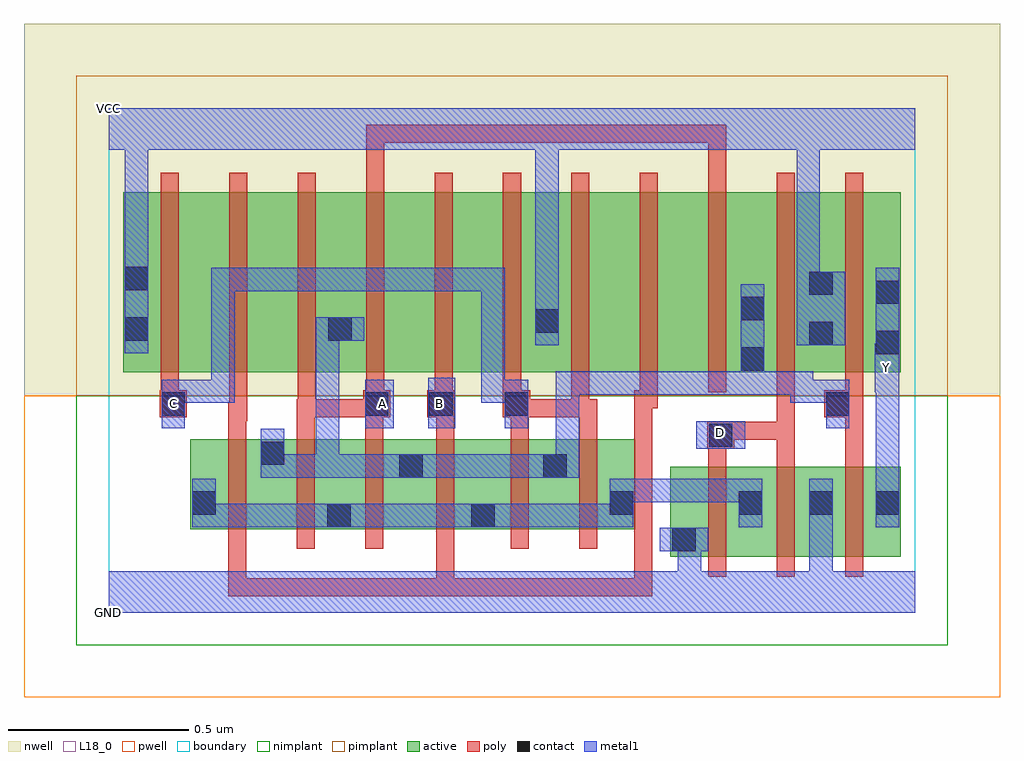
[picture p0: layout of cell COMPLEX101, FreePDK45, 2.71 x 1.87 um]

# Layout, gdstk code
import gdstk
lib = gdstk.Library(unit=1e-6, precision=1e-09)
def R(c, l, rs):  # rectangles x0, y0, x1, y1
    for r in rs: c.add(gdstk.rectangle(r[:2], r[2:], *l))
def A(c, l, x, y, w, h, nx, ny, dx, dy):  # array of equal rectangles
    R(c, l, [(x+i*dx, y+j*dy, x+i*dx+w, y+j*dy+h) for i in range(nx) for j in range(ny)])
active = (1, 0)
pwell = (2, 0)
nwell = (3, 0)
nimplant = (4, 0)
pimplant = (5, 0)
poly = (9, 0)
contact = (10, 0)
metal1 = (11, 0)
L18_0 = (18, 0)
boundary = (235, 0)

complex101 = lib.new_cell('COMPLEX101')
A(complex101, active, 0.602, 0.232, 0.275, 0.25, 3, 1, 0.2, 0)
A(complex101, active, 0.265, 0.667, 0.19, 0.5, 3, 1, 0.57, 0)
R(complex101, active, [(1.56,0.155,1.82,0.405), (1.56,0.155,1.635,0.405), (1.745,0.155,2.015,0.405), (1.94,0.155,2.2,0.405), (1.94,0.155,2.015,0.342), (1.745,0.2,1.82,0.342), (2.125,0.2,2.2,0.405), (0.227,0.232,0.302,0.482), (0.227,0.232,0.492,0.482), (0.417,0.232,0.677,0.482), (0.602,0.232,0.677,0.467), (1.002,0.232,1.077,0.405), (1.202,0.232,1.462,0.482), (1.387,0.232,1.462,0.482), (0.417,0.297,0.492,0.48), (0.802,0.297,0.877,0.445), (1.202,0.297,1.277,0.467), (0.04,0.667,0.115,1.167), (0.04,0.667,0.265,1.167), (0.455,0.667,0.68,1.167), (0.605,0.667,0.835,1.167), (0.605,0.667,0.68,1.07), (1.025,0.667,1.255,1.167), (1.18,0.667,1.255,1.167), (1.18,0.667,1.405,1.167), (1.595,0.667,1.825,1.167), (1.75,0.667,1.825,1.157), (1.75,0.667,2.015,1.167), (1.94,0.667,2.2,1.167), (1.94,0.667,2.015,1.167), (2.125,0.667,2.2,1.157)])
R(complex101, pwell, [(-0.235,-0.235,2.475,0.602)])
R(complex101, nwell, [(-0.235,0.602,2.475,1.635)])
R(complex101, nimplant, [(-0.09,-0.09,2.33,0.602)])
R(complex101, pimplant, [(-0.09,0.602,2.33,1.49)])
A(complex101, poly, 1.665, 0.1, 0.05, 0.36, 3, 1, 0.19, 0)
A(complex101, poly, 0.332, 0.177, 0.05, 0.36, 3, 1, 0.19, 0)
A(complex101, poly, 0.715, 0.567, 0.05, 0.095, 3, 1, 0.19, 0)
A(complex101, poly, 0.145, 0.612, 0.05, 0.61, 11, 1, 0.19, 0)
R(complex101, poly, [(0.332,0.045,0.382,0.227), (0.332,0.045,0.382,0.095), (0.332,0.045,0.382,0.095), (0.332,0.045,0.382,0.095), (0.332,0.045,0.517,0.095), (0.467,0.045,0.517,0.095), (0.467,0.045,0.517,0.095), (0.467,0.045,0.517,0.095), (0.467,0.045,0.707,0.095), (0.657,0.045,0.707,0.095), (0.657,0.045,0.707,0.095), (0.657,0.045,0.707,0.095), (0.657,0.045,0.96,0.095), (0.91,0.045,0.96,0.227), (0.91,0.045,0.96,0.095), (0.91,0.045,0.96,0.095), (0.91,0.045,0.96,0.095), (0.91,0.045,1.092,0.095), (1.042,0.045,1.092,0.095), (1.042,0.045,1.377,0.095), (1.327,0.045,1.377,0.095), (1.327,0.045,1.377,0.095), (1.327,0.045,1.377,0.095), (1.327,0.045,1.51,0.095), (1.46,0.045,1.51,0.095), (1.46,0.045,1.51,0.095), (1.46,0.045,1.51,0.095), (1.46,0.045,1.51,0.617), (0.91,0.177,0.96,0.537), (1.117,0.177,1.167,0.537), (1.307,0.177,1.357,0.537), (1.665,0.41,1.715,0.505), (1.855,0.41,1.905,0.53), (2.045,0.41,2.095,0.592), (1.662,0.455,1.737,0.53), (1.687,0.48,1.905,0.53), (1.855,0.48,1.905,0.662), (1.855,0.48,1.905,0.53), (1.855,0.48,1.905,0.53), (1.855,0.48,1.905,0.53), (0.332,0.487,0.382,0.582), (0.522,0.487,0.572,0.592), (0.712,0.487,0.762,0.592), (0.91,0.487,0.96,0.592), (1.117,0.487,1.167,0.592), (1.307,0.487,1.357,0.592), (0.332,0.532,0.385,0.582), (0.335,0.532,0.385,0.662), (0.142,0.542,0.217,0.617), (0.522,0.542,0.575,0.592), (0.525,0.542,0.575,0.662), (0.525,0.542,0.575,0.592), (0.525,0.542,0.575,0.592), (0.525,0.542,0.757,0.592), (0.707,0.542,0.782,0.617), (0.885,0.542,0.96,0.617), (1.095,0.542,1.17,0.617), (1.12,0.542,1.335,0.592), (1.285,0.542,1.335,0.662), (1.285,0.542,1.335,0.592), (1.285,0.542,1.335,0.592), (1.285,0.542,1.357,0.592), (1.987,0.542,2.095,0.617), (0.145,0.567,0.195,0.662), (1.46,0.567,1.51,0.617), (1.46,0.567,1.51,0.617), (1.46,0.567,1.51,0.617), (1.46,0.567,1.51,0.617), (1.46,0.567,1.525,0.617), (1.475,0.567,1.525,0.662), (2.045,0.567,2.095,0.662), (0.715,1.172,0.765,1.355), (1.665,1.172,1.715,1.355), (0.715,1.305,0.765,1.355), (0.715,1.305,0.765,1.355), (0.715,1.305,0.765,1.355), (0.715,1.305,0.915,1.355), (0.865,1.305,0.915,1.355), (0.865,1.305,0.915,1.355), (0.865,1.305,0.915,1.355), (0.865,1.305,1.202,1.355), (1.152,1.305,1.202,1.355), (1.152,1.305,1.202,1.355), (1.152,1.305,1.202,1.355), (1.152,1.305,1.335,1.355), (1.285,1.305,1.335,1.355), (1.285,1.305,1.58,1.355), (1.53,1.305,1.58,1.355), (1.53,1.305,1.58,1.355), (1.53,1.305,1.58,1.355), (1.53,1.305,1.715,1.355), (1.665,1.305,1.715,1.355), (1.665,1.305,1.715,1.355), (1.665,1.305,1.715,1.355)])
R(complex101, contact, [(1.565,0.17,1.63,0.235), (0.607,0.237,0.672,0.302), (1.007,0.237,1.072,0.302), (0.232,0.272,0.297,0.337), (1.392,0.272,1.457,0.337), (1.75,0.272,1.815,0.337), (1.945,0.272,2.01,0.337), (2.13,0.272,2.195,0.337), (0.807,0.375,0.872,0.44), (1.207,0.375,1.272,0.44), (0.422,0.41,0.487,0.475), (1.667,0.46,1.732,0.525), (0.147,0.547,0.212,0.612), (0.712,0.547,0.777,0.612), (0.89,0.547,0.955,0.612), (1.1,0.547,1.165,0.612), (1.992,0.547,2.057,0.612), (1.755,0.672,1.82,0.737), (2.13,0.717,2.195,0.782), (1.945,0.742,2.01,0.807), (0.045,0.755,0.11,0.82), (0.61,0.755,0.675,0.82), (1.185,0.777,1.25,0.842), (1.755,0.812,1.82,0.877), (2.13,0.857,2.195,0.922), (1.945,0.882,2.01,0.947), (0.045,0.895,0.11,0.96)])
R(complex101, metal1, [(0,0,2.24,0.115), (1.58,0.05,1.645,0.235), (1.945,0.05,2.01,0.115), (1.945,0.05,2.01,0.115), (1.945,0.05,2.01,0.115), (1.945,0.05,2.01,0.115), (1.945,0.05,2.01,0.302), (1.53,0.17,1.665,0.235), (1.58,0.17,1.645,0.235), (1.58,0.17,1.645,0.235), (1.58,0.17,1.645,0.235), (1.58,0.17,1.645,0.235), (0.232,0.237,0.297,0.372), (0.232,0.237,0.35,0.302), (0.285,0.237,0.35,0.302), (0.285,0.237,0.5,0.302), (0.435,0.237,0.5,0.302), (0.435,0.237,0.5,0.302), (0.435,0.237,0.5,0.302), (0.435,0.237,0.637,0.302), (0.572,0.237,0.707,0.302), (0.642,0.237,0.707,0.302), (0.642,0.237,0.707,0.302), (0.642,0.237,0.9,0.302), (0.835,0.237,0.9,0.302), (0.835,0.237,0.9,0.302), (0.835,0.237,0.9,0.302), (0.835,0.237,1.037,0.302), (0.972,0.237,1.107,0.302), (1.042,0.237,1.107,0.302), (1.042,0.237,1.107,0.302), (1.042,0.237,1.302,0.302), (1.237,0.237,1.302,0.302), (1.237,0.237,1.302,0.302), (1.237,0.237,1.302,0.302), (1.237,0.237,1.457,0.302), (1.392,0.237,1.457,0.372), (1.75,0.237,1.815,0.372), (1.945,0.237,2.01,0.372), (2.13,0.237,2.195,0.372), (1.392,0.307,1.457,0.372), (1.392,0.307,1.457,0.372), (1.392,0.307,1.457,0.372), (1.392,0.307,1.457,0.372), (1.392,0.307,1.595,0.372), (1.53,0.307,1.595,0.372), (1.53,0.307,1.595,0.372), (1.53,0.307,1.595,0.372), (1.53,0.307,1.815,0.372), (2.13,0.307,2.195,0.677), (0.422,0.375,0.487,0.44), (0.422,0.375,0.487,0.44), (0.422,0.375,0.487,0.51), (0.422,0.375,0.64,0.44), (0.575,0.375,0.64,0.44), (0.575,0.375,0.64,0.44), (0.575,0.375,0.64,0.44), (0.575,0.375,0.837,0.44), (0.575,0.375,0.64,0.82), (0.772,0.375,0.907,0.44), (0.842,0.375,0.907,0.44), (0.842,0.375,0.907,0.44), (0.842,0.375,1.1,0.44), (1.035,0.375,1.1,0.44), (1.035,0.375,1.1,0.44), (1.035,0.375,1.1,0.44), (1.035,0.375,1.237,0.44), (1.172,0.375,1.307,0.44), (1.242,0.375,1.307,0.67), (1.632,0.455,1.767,0.532), (0.147,0.512,0.212,0.647), (0.712,0.512,0.792,0.647), (0.887,0.512,0.962,0.652), (1.1,0.512,1.165,0.647), (1.992,0.512,2.057,0.647), (0.147,0.582,0.35,0.647), (0.285,0.582,0.35,0.647), (0.285,0.582,0.35,0.647), (0.285,0.582,0.35,0.647), (0.285,0.582,0.35,0.957), (1.035,0.582,1.1,0.647), (1.035,0.582,1.165,0.647), (1.035,0.582,1.1,0.957), (1.892,0.582,2.057,0.647), (1.892,0.582,1.957,0.67), (1.242,0.605,1.307,0.67), (1.242,0.605,1.307,0.67), (1.242,0.605,1.307,0.67), (1.242,0.605,1.307,0.67), (1.242,0.605,1.307,0.67), (1.242,0.605,1.445,0.67), (1.38,0.605,1.445,0.67), (1.38,0.605,1.445,0.67), (1.38,0.605,1.445,0.67), (1.38,0.605,1.595,0.67), (1.53,0.605,1.595,0.67), (1.53,0.605,1.595,0.67), (1.53,0.605,1.595,0.67), (1.53,0.605,1.82,0.67), (1.755,0.605,1.92,0.67), (1.755,0.605,1.82,0.912), (1.855,0.605,1.92,0.67), (1.855,0.605,1.957,0.67), (1.892,0.605,1.957,0.67), (1.892,0.605,1.957,0.67), (2.127,0.612,2.195,0.747), (2.13,0.682,2.195,0.747), (2.13,0.682,2.195,0.957), (0.045,0.72,0.11,0.995), (1.185,0.742,1.25,0.877), (1.91,0.742,2.045,0.947), (0.575,0.755,0.64,0.82), (0.575,0.755,0.64,0.82), (0.575,0.755,0.71,0.82), (1.185,0.812,1.25,1.35), (1.91,0.882,1.975,0.947), (1.91,0.882,1.975,0.947), (1.91,0.882,1.975,1.35), (0.285,0.892,0.35,0.957), (0.285,0.892,0.35,0.957), (0.285,0.892,0.35,0.957), (0.285,0.892,0.487,0.957), (0.422,0.892,0.487,0.957), (0.422,0.892,0.487,0.957), (0.422,0.892,0.487,0.957), (0.422,0.892,0.637,0.957), (0.572,0.892,0.637,0.957), (0.572,0.892,0.637,0.957), (0.572,0.892,0.637,0.957), (0.572,0.892,0.9,0.957), (0.835,0.892,0.9,0.957), (0.835,0.892,0.9,0.957), (0.835,0.892,0.9,0.957), (0.835,0.892,0.9,0.957), (0.835,0.892,0.9,0.957), (0.835,0.892,1.1,0.957), (1.035,0.892,1.1,0.957), (0.045,0.93,0.11,0.995), (0.045,0.93,0.11,0.995), (0.045,0.93,0.11,1.35), (0,1.285,2.24,1.4), (1.185,1.285,1.25,1.35), (1.185,1.285,1.25,1.35)])
R(complex101, L18_0, [(0,0,2.24,0.115), (1.58,0.05,1.645,0.235), (1.945,0.05,2.01,0.115), (1.945,0.05,2.01,0.115), (1.945,0.05,2.01,0.115), (1.945,0.05,2.01,0.115), (1.945,0.05,2.01,0.302), (1.53,0.17,1.665,0.235), (1.58,0.17,1.645,0.235), (1.58,0.17,1.645,0.235), (1.58,0.17,1.645,0.235), (1.58,0.17,1.645,0.235), (1.945,0.237,2.01,0.372), (2.13,0.237,2.195,0.372), (2.13,0.307,2.195,0.677), (1.632,0.455,1.767,0.532), (1.667,0.467,1.732,0.532), (0.147,0.512,0.212,0.647), (0.712,0.512,0.792,0.647), (0.887,0.512,0.962,0.652), (1.1,0.512,1.165,0.647), (0.147,0.547,0.212,0.612), (0.727,0.547,0.792,0.612), (0.887,0.547,0.952,0.612), (0.147,0.582,0.35,0.647), (0.285,0.582,0.35,0.647), (0.285,0.582,0.35,0.647), (0.285,0.582,0.35,0.647), (0.285,0.582,0.35,0.957), (1.035,0.582,1.1,0.647), (1.035,0.582,1.1,0.957), (1.035,0.582,1.165,0.647), (2.127,0.612,2.195,0.747), (2.127,0.647,2.192,0.712), (2.13,0.682,2.195,0.957), (2.13,0.682,2.195,0.747), (0.045,0.72,0.11,0.995), (1.185,0.742,1.25,0.877), (1.91,0.742,2.045,0.947), (1.185,0.812,1.25,1.35), (1.91,0.882,1.975,0.947), (1.91,0.882,1.975,0.947), (1.91,0.882,1.975,1.35), (0.285,0.892,0.35,0.957), (0.285,0.892,0.35,0.957), (0.285,0.892,0.35,0.957), (0.285,0.892,0.487,0.957), (0.422,0.892,0.487,0.957), (0.422,0.892,0.487,0.957), (0.422,0.892,0.487,0.957), (0.422,0.892,0.637,0.957), (0.572,0.892,0.637,0.957), (0.572,0.892,0.637,0.957), (0.572,0.892,0.637,0.957), (0.572,0.892,0.9,0.957), (0.835,0.892,0.9,0.957), (0.835,0.892,0.9,0.957), (0.835,0.892,0.9,0.957), (0.835,0.892,0.9,0.957), (0.835,0.892,0.9,0.957), (0.835,0.892,1.1,0.957), (1.035,0.892,1.1,0.957), (0.045,0.93,0.11,0.995), (0.045,0.93,0.11,0.995), (0.045,0.93,0.11,1.35), (0,1.285,2.24,1.4), (1.185,1.285,1.25,1.35), (1.185,1.285,1.25,1.35)])
R(complex101, boundary, [(0,0,2.24,1.4)])
complex101.add(gdstk.Label('A', (0.76,0.58), layer=11, texttype=0))
complex101.add(gdstk.Label('B', (0.92,0.58), layer=11, texttype=0))
complex101.add(gdstk.Label('C', (0.18,0.58), layer=11, texttype=0))
complex101.add(gdstk.Label('D', (1.7,0.5), layer=11, texttype=0))
complex101.add(gdstk.Label('Y', (2.16,0.68), layer=11, texttype=0))
complex101.add(gdstk.Label('VCC', (0,1.4), layer=11, texttype=0))
complex101.add(gdstk.Label('GND', (0,0), layer=11, texttype=0))

lib.write_gds('COMPLEX101.gds')
